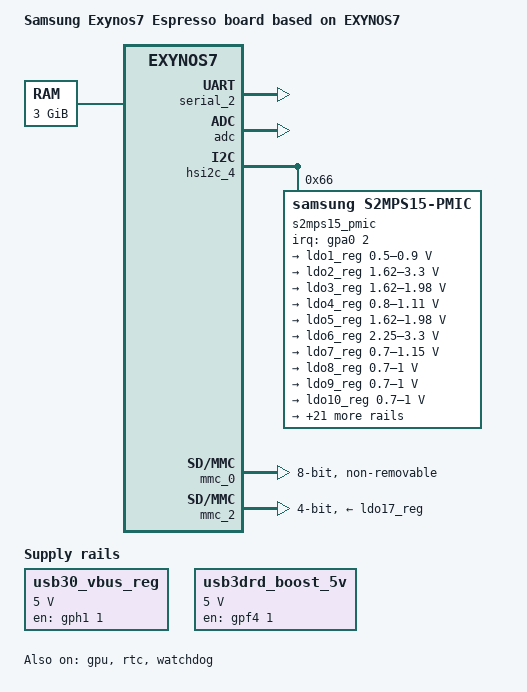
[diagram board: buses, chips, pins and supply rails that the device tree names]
// SPDX-License-Identifier: GPL-2.0
/*
 * SAMSUNG Exynos7 Espresso board device tree source
 *
 * Copyright (c) 2014 Samsung Electronics Co., Ltd.
 *		http://www.samsung.com
 */

/dts-v1/;
#include "exynos7.dtsi"
#include <dt-bindings/interrupt-controller/irq.h>
#include <dt-bindings/clock/samsung,s2mps11.h>
#include <dt-bindings/gpio/gpio.h>

/ {
	model = "Samsung Exynos7 Espresso board based on EXYNOS7";
	compatible = "samsung,exynos7-espresso", "samsung,exynos7";

	aliases {
		serial0 = &serial_2;
		mshc0 = &mmc_0;
		mshc2 = &mmc_2;
	};

	chosen {
		stdout-path = &serial_2;
	};

	memory@40000000 {
		device_type = "memory";
		reg = <0x0 0x40000000 0x0 0xC0000000>;
	};

	usb30_vbus_reg: regulator-usb30 {
		compatible = "regulator-fixed";
		regulator-name = "VBUS_5V";
		regulator-min-microvolt = <5000000>;
		regulator-max-microvolt = <5000000>;
		gpio = <&gph1 1 GPIO_ACTIVE_HIGH>;
		pinctrl-names = "default";
		pinctrl-0 = <&usb30_vbus_en>;
		enable-active-high;
	};

	usb3drd_boost_5v: regulator-usb3drd-boost {
		compatible = "regulator-fixed";
		regulator-name = "VUSB_VBUS_5V";
		regulator-min-microvolt = <5000000>;
		regulator-max-microvolt = <5000000>;
		gpio = <&gpf4 1 GPIO_ACTIVE_HIGH>;
		pinctrl-names = "default";
		pinctrl-0 = <&usb3drd_boost_en>;
		enable-active-high;
	};

};

&fin_pll {
	clock-frequency = <24000000>;
};

&gpu {
	mali-supply = <&buck6_reg>;
	status = "okay";
};

&serial_2 {
	status = "okay";
};

&rtc {
	status = "okay";
	clocks = <&clock_ccore PCLK_RTC>, <&s2mps15_osc S2MPS11_CLK_AP>;
	clock-names = "rtc", "rtc_src";
};

&watchdog {
	status = "okay";
};

&adc {
	status = "okay";
};

&hsi2c_4 {
	samsung,i2c-sda-delay = <100>;
	samsung,i2c-max-bus-freq = <200000>;
	status = "okay";

	s2mps15_pmic@66 {
		compatible = "samsung,s2mps15-pmic";
		reg = <0x66>;
		interrupts = <2 IRQ_TYPE_NONE>;
		interrupt-parent = <&gpa0>;
		pinctrl-names = "default";
		pinctrl-0 = <&pmic_irq>;
		wakeup-source;

		s2mps15_osc: clocks {
			compatible = "samsung,s2mps13-clk";
			#clock-cells = <1>;
			clock-output-names = "s2mps13_ap", "s2mps13_cp",
				"s2mps13_bt";
		};

		regulators {
			ldo1_reg: LDO1 {
				regulator-name = "vdd_ldo1";
				regulator-min-microvolt = <500000>;
				regulator-max-microvolt = <900000>;
				regulator-always-on;
				regulator-enable-ramp-delay = <125>;
			};

			ldo2_reg: LDO2 {
				regulator-name = "vqmmc-sdcard";
				regulator-min-microvolt = <1620000>;
				regulator-max-microvolt = <3300000>;
				regulator-always-on;
				regulator-enable-ramp-delay = <125>;
			};

			ldo3_reg: LDO3 {
				regulator-name = "vdd_ldo3";
				regulator-min-microvolt = <1620000>;
				regulator-max-microvolt = <1980000>;
				regulator-always-on;
				regulator-boot-on;
				regulator-enable-ramp-delay = <125>;
			};

			ldo4_reg: LDO4 {
				regulator-name = "vdd_ldo4";
				regulator-min-microvolt = <800000>;
				regulator-max-microvolt = <1110000>;
				regulator-always-on;
				regulator-enable-ramp-delay = <125>;
			};

			ldo5_reg: LDO5 {
				regulator-name = "vdd_ldo5";
				regulator-min-microvolt = <1620000>;
				regulator-max-microvolt = <1980000>;
				regulator-always-on;
				regulator-enable-ramp-delay = <125>;
			};

			ldo6_reg: LDO6 {
				regulator-name = "vdd_ldo6";
				regulator-min-microvolt = <2250000>;
				regulator-max-microvolt = <3300000>;
				regulator-enable-ramp-delay = <125>;
			};

			ldo7_reg: LDO7 {
				regulator-name = "vdd_ldo7";
				regulator-min-microvolt = <700000>;
				regulator-max-microvolt = <1150000>;
				regulator-enable-ramp-delay = <125>;
			};

			ldo8_reg: LDO8 {
				regulator-name = "vdd_ldo8";
				regulator-min-microvolt = <700000>;
				regulator-max-microvolt = <1000000>;
				regulator-enable-ramp-delay = <125>;
			};

			ldo9_reg: LDO9 {
				regulator-name = "vdd_ldo9";
				regulator-min-microvolt = <700000>;
				regulator-max-microvolt = <1000000>;
				regulator-enable-ramp-delay = <125>;
			};

			ldo10_reg: LDO10 {
				regulator-name = "vdd_ldo10";
				regulator-min-microvolt = <700000>;
				regulator-max-microvolt = <1000000>;
				regulator-enable-ramp-delay = <125>;
			};

			ldo11_reg: LDO11 {
				regulator-name = "vdd_ldo11";
				regulator-min-microvolt = <1000000>;
				regulator-max-microvolt = <1300000>;
				regulator-always-on;
				regulator-enable-ramp-delay = <125>;
			};

			ldo12_reg: LDO12 {
				regulator-name = "vdd_ldo12";
				regulator-min-microvolt = <1000000>;
				regulator-max-microvolt = <1300000>;
				regulator-enable-ramp-delay = <125>;
			};

			ldo13_reg: LDO13 {
				regulator-name = "vdd_ldo13";
				regulator-min-microvolt = <1000000>;
				regulator-max-microvolt = <1300000>;
				regulator-always-on;
				regulator-enable-ramp-delay = <125>;
			};

			ldo14_reg: LDO14 {
				regulator-name = "vdd_ldo14";
				regulator-min-microvolt = <1800000>;
				regulator-max-microvolt = <3375000>;
				regulator-enable-ramp-delay = <125>;
			};

			ldo17_reg: LDO17 {
				regulator-name = "vmmc-sdcard";
				regulator-min-microvolt = <1800000>;
				regulator-max-microvolt = <3375000>;
				regulator-enable-ramp-delay = <125>;
			};

			ldo18_reg: LDO18 {
				regulator-name = "vdd_ldo18";
				regulator-min-microvolt = <1500000>;
				regulator-max-microvolt = <2275000>;
				regulator-enable-ramp-delay = <125>;
			};

			ldo19_reg: LDO19 {
				regulator-name = "vdd_ldo19";
				regulator-min-microvolt = <1800000>;
				regulator-max-microvolt = <3375000>;
				regulator-enable-ramp-delay = <125>;
			};

			ldo21_reg: LDO21 {
				regulator-name = "vdd_ldo21";
				regulator-min-microvolt = <1800000>;
				regulator-max-microvolt = <3375000>;
				regulator-enable-ramp-delay = <125>;
			};

			ldo23_reg: LDO23 {
				regulator-name = "vdd_ldo23";
				regulator-min-microvolt = <1500000>;
				regulator-max-microvolt = <2275000>;
				regulator-enable-ramp-delay = <125>;
			};

			ldo25_reg: LDO25 {
				regulator-name = "vdd_ldo25";
				regulator-min-microvolt = <1800000>;
				regulator-max-microvolt = <3375000>;
				regulator-enable-ramp-delay = <125>;
			};

			ldo26_reg: LDO26 {
				regulator-name = "vdd_ldo26";
				regulator-min-microvolt = <700000>;
				regulator-max-microvolt = <1470000>;
				regulator-enable-ramp-delay = <125>;
			};

			ldo27_reg: LDO27 {
				regulator-name = "vdd_ldo27";
				regulator-min-microvolt = <1500000>;
				regulator-max-microvolt = <2275000>;
				regulator-enable-ramp-delay = <125>;
			};

			buck1_reg: BUCK1 {
				regulator-name = "vdd_mif";
				regulator-min-microvolt = <500000>;
				regulator-max-microvolt = <1200000>;
				regulator-always-on;
				regulator-boot-on;
				regulator-ramp-delay = <25000>;
				regulator-enable-ramp-delay = <250>;
			};

			buck2_reg: BUCK2 {
				regulator-name = "vdd_atlas";
				regulator-min-microvolt = <500000>;
				regulator-max-microvolt = <1200000>;
				regulator-always-on;
				regulator-boot-on;
				regulator-ramp-delay = <12500>;
				regulator-enable-ramp-delay = <250>;
			};

			buck4_reg: BUCK4 {
				regulator-name = "vdd_int";
				regulator-min-microvolt = <500000>;
				regulator-max-microvolt = <1200000>;
				regulator-always-on;
				regulator-boot-on;
				regulator-ramp-delay = <12500>;
				regulator-enable-ramp-delay = <250>;
			};

			buck5_reg: BUCK5 {
				regulator-name = "vdd_buck5";
				regulator-min-microvolt = <500000>;
				regulator-max-microvolt = <1300000>;
				regulator-ramp-delay = <25000>;
				regulator-enable-ramp-delay = <250>;
			};

			buck6_reg: BUCK6 {
				regulator-name = "vdd_g3d";
				regulator-min-microvolt = <500000>;
				regulator-max-microvolt = <1400000>;
				regulator-ramp-delay = <12500>;
				regulator-enable-ramp-delay = <250>;
			};

			buck7_reg: BUCK7 {
				regulator-name = "vdd_buck7";
				regulator-min-microvolt = <1000000>;
				regulator-max-microvolt = <1500000>;
				regulator-always-on;
				regulator-ramp-delay = <25000>;
				regulator-enable-ramp-delay = <250>;
			};

			buck8_reg: BUCK8 {
				regulator-name = "vdd_buck8";
				regulator-min-microvolt = <1000000>;
				regulator-max-microvolt = <1500000>;
				regulator-always-on;
				regulator-ramp-delay = <25000>;
				regulator-enable-ramp-delay = <250>;
			};

			buck9_reg: BUCK9 {
				regulator-name = "vdd_buck9";
				regulator-min-microvolt = <1800000>;
				regulator-max-microvolt = <2100000>;
				regulator-always-on;
				regulator-ramp-delay = <25000>;
				regulator-enable-ramp-delay = <250>;
			};

			buck10_reg: BUCK10 {
				regulator-name = "vdd_buck10";
				regulator-min-microvolt = <1000000>;
				regulator-max-microvolt = <3000000>;
				regulator-always-on;
				regulator-ramp-delay = <25000>;
				regulator-enable-ramp-delay = <250>;
			};
		};
	};
};

&pinctrl_alive {
	pmic_irq: pmic-irq {
		samsung,pins = "gpa0-2";
		samsung,pin-pud = <EXYNOS_PIN_PULL_UP>;
		samsung,pin-drv = <EXYNOS4_PIN_DRV_LV4>;
	};
};

&mmc_0 {
	status = "okay";
	cap-mmc-highspeed;
	mmc-hs200-1_8v;
	non-removable;
	card-detect-delay = <200>;
	clock-frequency = <800000000>;
	samsung,dw-mshc-ciu-div = <3>;
	samsung,dw-mshc-sdr-timing = <0 4>;
	samsung,dw-mshc-ddr-timing = <0 2>;
	pinctrl-names = "default";
	pinctrl-0 = <&sd0_clk &sd0_cmd &sd0_qrdy &sd0_bus1 &sd0_bus4 &sd0_bus8>;
	bus-width = <8>;
};

&mmc_2 {
	status = "okay";
	cap-sd-highspeed;
	card-detect-delay = <200>;
	clock-frequency = <400000000>;
	samsung,dw-mshc-ciu-div = <3>;
	samsung,dw-mshc-sdr-timing = <2 3>;
	samsung,dw-mshc-ddr-timing = <1 2>;
	pinctrl-names = "default";
	pinctrl-0 = <&sd2_clk &sd2_cmd &sd2_cd &sd2_bus1 &sd2_bus4>;
	bus-width = <4>;
	vmmc-supply = <&ldo17_reg>;
	vqmmc-supply = <&ldo2_reg>;
	disable-wp;
};

&pinctrl_bus1 {
	usb30_vbus_en: usb30-vbus-en {
		samsung,pins = "gph1-1";
		samsung,pin-function = <EXYNOS_PIN_FUNC_OUTPUT>;
		samsung,pin-pud = <EXYNOS_PIN_PULL_NONE>;
		samsung,pin-drv = <EXYNOS4_PIN_DRV_LV1>;
	};

	usb3drd_boost_en: usb3drd-boost-en {
		samsung,pins = "gpf4-1";
		samsung,pin-function = <EXYNOS_PIN_FUNC_OUTPUT>;
		samsung,pin-pud = <EXYNOS_PIN_PULL_NONE>;
		samsung,pin-drv = <EXYNOS4_PIN_DRV_LV1>;
	};
};

&usbdrd_phy {
	vbus-supply = <&usb30_vbus_reg>;
	vbus-boost-supply = <&usb3drd_boost_5v>;
};
